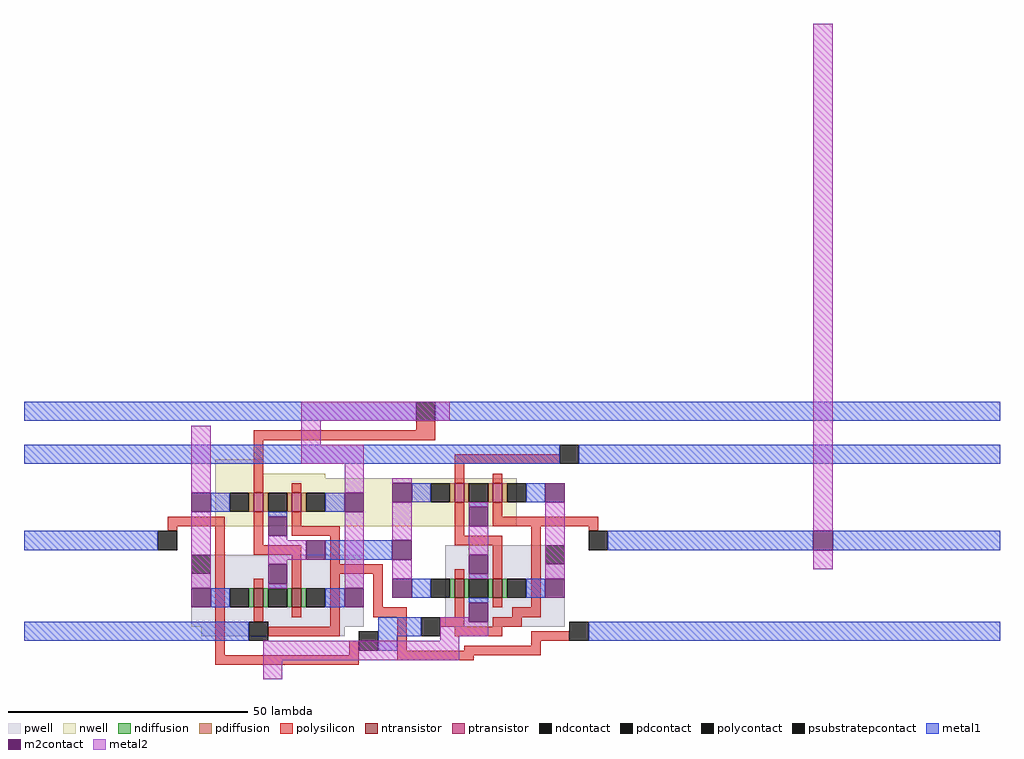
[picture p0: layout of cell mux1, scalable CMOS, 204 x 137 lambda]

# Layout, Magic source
magic
tech scmos
<< pwell >>
rect -105 -16 -69 -1
rect -52 -16 -27 1
rect -103 -18 -73 -16
<< nwell >>
rect -100 16 -90 19
rect -100 15 -77 16
rect -100 5 -37 15
<< polysilicon >>
rect -58 25 -54 27
rect -92 23 -54 25
rect -92 12 -90 23
rect -50 18 -28 20
rect -50 14 -48 18
rect -42 14 -40 16
rect -84 12 -82 14
rect -110 5 -98 7
rect -110 4 -108 5
rect -100 -22 -98 5
rect -92 1 -90 8
rect -84 5 -82 8
rect -84 3 -74 5
rect -92 -1 -82 1
rect -92 -8 -90 -6
rect -84 -8 -82 -1
rect -76 -3 -74 3
rect -50 3 -48 10
rect -42 7 -40 10
rect -42 5 -20 7
rect -50 1 -40 3
rect -76 -5 -65 -3
rect -92 -15 -90 -12
rect -84 -14 -82 -12
rect -76 -16 -74 -5
rect -67 -12 -65 -5
rect -50 -6 -48 -4
rect -42 -6 -40 1
rect -67 -14 -60 -12
rect -50 -14 -48 -10
rect -42 -12 -40 -10
rect -34 -12 -32 5
rect -22 4 -20 5
rect -38 -14 -32 -12
rect -89 -18 -74 -16
rect -72 -22 -70 -19
rect -62 -21 -60 -14
rect -53 -16 -48 -14
rect -42 -16 -36 -14
rect -50 -18 -40 -16
rect -34 -19 -26 -17
rect -34 -20 -32 -19
rect -48 -21 -32 -20
rect -100 -24 -70 -22
rect -62 -22 -32 -21
rect -62 -23 -46 -22
<< ndiffusion >>
rect -93 -12 -92 -8
rect -90 -12 -89 -8
rect -85 -12 -84 -8
rect -82 -12 -81 -8
rect -51 -10 -50 -6
rect -48 -10 -47 -6
rect -43 -10 -42 -6
rect -40 -10 -39 -6
<< pdiffusion >>
rect -93 8 -92 12
rect -90 8 -89 12
rect -85 8 -84 12
rect -82 8 -81 12
rect -51 10 -50 14
rect -48 10 -47 14
rect -43 10 -42 14
rect -40 10 -39 14
<< metal1 >>
rect -140 27 -58 31
rect -54 27 64 31
rect -140 18 -28 22
rect -24 18 64 22
rect -101 8 -97 12
rect -77 8 -73 12
rect -59 10 -55 14
rect -35 10 -31 14
rect -47 9 -43 10
rect -89 7 -85 8
rect -140 0 -112 4
rect -77 -2 -63 2
rect -18 0 25 4
rect 29 0 64 4
rect -47 -6 -43 -5
rect -89 -8 -85 -7
rect -101 -12 -97 -8
rect -77 -12 -73 -8
rect -59 -10 -55 -6
rect -35 -10 -31 -6
rect -47 -11 -43 -10
rect -140 -19 -93 -15
rect -66 -18 -57 -14
rect -66 -21 -62 -18
rect -22 -19 64 -15
<< metal2 >>
rect -82 27 -51 31
rect -105 12 -101 26
rect -82 22 -78 27
rect -82 18 -69 22
rect -105 -8 -101 8
rect -73 12 -69 18
rect -89 2 -85 3
rect -89 -2 -81 2
rect -89 -3 -85 -2
rect -89 -8 -85 -7
rect -73 -8 -69 8
rect -63 14 -59 15
rect -63 2 -59 10
rect -63 -6 -59 -2
rect -47 9 -43 10
rect -47 -1 -43 5
rect -47 -6 -43 -5
rect -31 -6 -27 10
rect 25 4 29 110
rect 25 -4 29 0
rect -53 -15 -47 -14
rect -53 -18 -43 -15
rect -53 -19 -49 -18
rect -90 -23 -49 -19
rect -90 -27 -86 -23
<< ntransistor >>
rect -92 -12 -90 -8
rect -84 -12 -82 -8
rect -50 -10 -48 -6
rect -42 -10 -40 -6
<< ptransistor >>
rect -92 8 -90 12
rect -84 8 -82 12
rect -50 10 -48 14
rect -42 10 -40 14
<< polycontact >>
rect -58 27 -54 31
rect -28 18 -24 22
rect -112 0 -108 4
rect -93 -19 -89 -15
rect -22 0 -18 4
rect -70 -21 -66 -17
rect -57 -18 -53 -14
rect -26 -19 -22 -15
<< ndcontact >>
rect -97 -12 -93 -8
rect -89 -12 -85 -8
rect -81 -12 -77 -8
rect -55 -10 -51 -6
rect -47 -10 -43 -6
rect -39 -10 -35 -6
<< pdcontact >>
rect -97 8 -93 12
rect -89 8 -85 12
rect -81 8 -77 12
rect -55 10 -51 14
rect -47 10 -43 14
rect -39 10 -35 14
<< m2contact >>
rect -105 8 -101 12
rect -73 8 -69 12
rect -63 10 -59 14
rect -31 10 -27 14
rect -89 3 -85 7
rect -47 5 -43 9
rect -81 -2 -77 2
rect -63 -2 -59 2
rect -89 -7 -85 -3
rect -47 -5 -43 -1
rect 25 0 29 4
rect -105 -12 -101 -8
rect -73 -12 -69 -8
rect -63 -10 -59 -6
rect -31 -10 -27 -6
rect -47 -15 -43 -11
<< psubstratepcontact >>
rect -105 -5 -101 -1
rect -31 -3 -27 1
<< end >>
